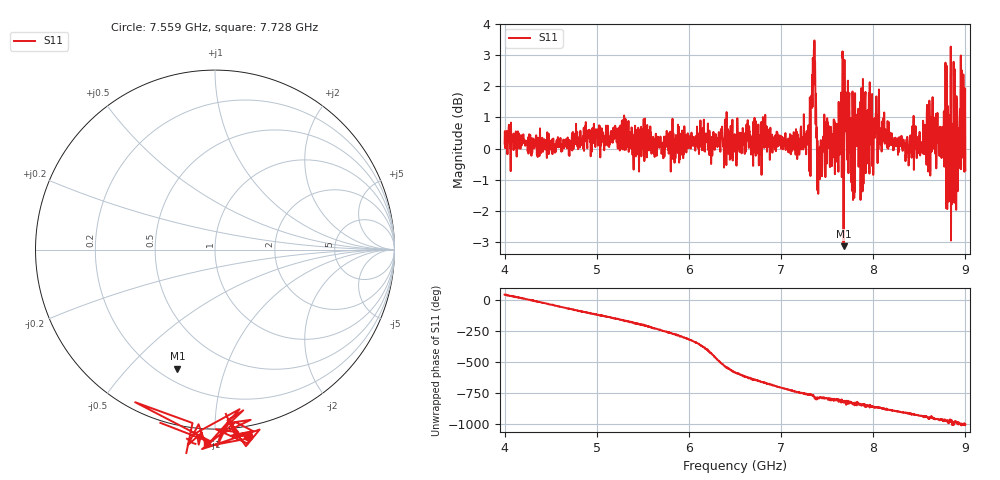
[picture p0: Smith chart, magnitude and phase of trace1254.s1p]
! Created with skrf 1.8.0 (http://scikit-rf.org).
# Hz S RI R 50.0
!freq ReS11 ImS11
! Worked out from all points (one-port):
!   1601 points, 4 GHz to 9 GHz, reference 50 ohm
!   lowest |S11| = -3.1 dB at 7.678 GHz (marker M1), VSWR 5.58, Z = 13.5 - j34.9 ohm
!   |S11| at or under -10 dB: nowhere
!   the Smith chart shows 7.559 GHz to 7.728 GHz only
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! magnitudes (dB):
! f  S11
! 4 GHz  0.2
! 4.625 GHz  -0.1
! 5.25 GHz  -0.1
! 5.875 GHz  0.0
! 6.5 GHz  0.1
! 6.806 GHz  0.4
! 7.125 GHz  0.2
! 7.294 GHz  0.1
! 7.347 GHz  2.7
! 7.369 GHz  2.8
! 7.4 GHz  -0.6
! 7.422 GHz  -1.0
! 7.481 GHz  -0.9
! 7.597 GHz  0.2
! 7.638 GHz  0.8
! 7.65 GHz  1.8
! 7.678 GHz  -3.1
! 7.75 GHz  0.4
! 7.775 GHz  1.8
! 7.828 GHz  1.1
! 7.962 GHz  2.1
! 8.375 GHz  0.0
! 8.766 GHz  1.2
! 8.775 GHz  1.2
! 8.816 GHz  0.1
! 8.844 GHz  -3.0
! 8.972 GHz  0.3
! 9 GHz  -0.7
